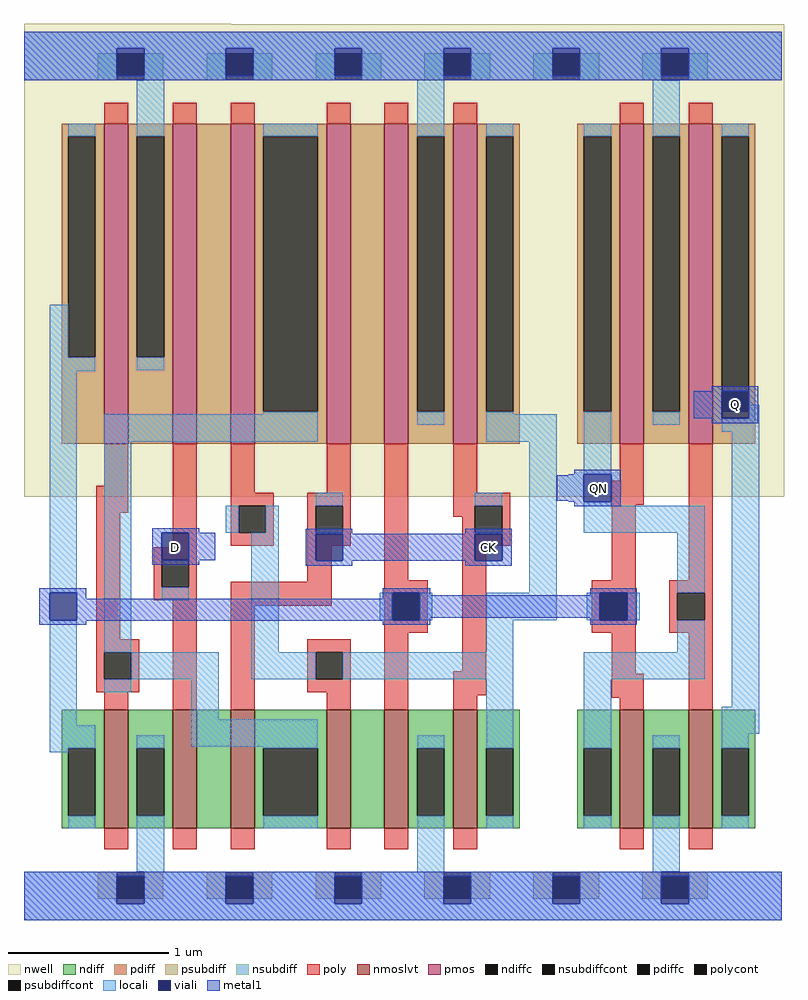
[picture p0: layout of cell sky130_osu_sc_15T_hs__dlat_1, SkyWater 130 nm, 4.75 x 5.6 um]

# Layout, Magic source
magic
tech sky130A
magscale 1 2
<< nwell >>
rect 71 1119 330 1120
rect 71 529 1020 1119
<< nmoslvt >>
rect 171 115 201 263
rect 257 115 287 263
rect 329 115 359 263
rect 449 115 479 263
rect 521 115 551 263
rect 607 115 637 263
rect 815 115 845 263
rect 901 115 931 263
<< pmos >>
rect 171 595 201 995
rect 257 595 287 995
rect 329 595 359 995
rect 449 595 479 995
rect 521 595 551 995
rect 607 595 637 995
rect 815 595 845 995
rect 901 595 931 995
<< ndiff >>
rect 118 215 171 263
rect 118 131 126 215
rect 160 131 171 215
rect 118 115 171 131
rect 201 215 257 263
rect 201 131 212 215
rect 246 131 257 215
rect 201 115 257 131
rect 287 115 329 263
rect 359 215 449 263
rect 359 131 370 215
rect 438 131 449 215
rect 359 115 449 131
rect 479 115 521 263
rect 551 215 607 263
rect 551 131 562 215
rect 596 131 607 215
rect 551 115 607 131
rect 637 215 690 263
rect 637 131 648 215
rect 682 131 690 215
rect 637 115 690 131
rect 762 215 815 263
rect 762 131 770 215
rect 804 131 815 215
rect 762 115 815 131
rect 845 215 901 263
rect 845 131 856 215
rect 890 131 901 215
rect 845 115 901 131
rect 931 215 984 263
rect 931 131 942 215
rect 976 131 984 215
rect 931 115 984 131
<< pdiff >>
rect 118 979 171 995
rect 118 703 126 979
rect 160 703 171 979
rect 118 595 171 703
rect 201 979 257 995
rect 201 703 212 979
rect 246 703 257 979
rect 201 595 257 703
rect 287 595 329 995
rect 359 979 449 995
rect 359 635 370 979
rect 438 635 449 979
rect 359 595 449 635
rect 479 595 521 995
rect 551 979 607 995
rect 551 635 562 979
rect 596 635 607 979
rect 551 595 607 635
rect 637 979 690 995
rect 637 635 648 979
rect 682 635 690 979
rect 637 595 690 635
rect 762 979 815 995
rect 762 635 770 979
rect 804 635 815 979
rect 762 595 815 635
rect 845 979 901 995
rect 845 635 856 979
rect 890 635 901 979
rect 845 595 901 635
rect 931 979 984 995
rect 931 635 942 979
rect 976 635 984 979
rect 931 595 984 635
<< ndiffc >>
rect 126 131 160 215
rect 212 131 246 215
rect 370 131 438 215
rect 562 131 596 215
rect 648 131 682 215
rect 770 131 804 215
rect 856 131 890 215
rect 942 131 976 215
<< pdiffc >>
rect 126 703 160 979
rect 212 703 246 979
rect 370 635 438 979
rect 562 635 596 979
rect 648 635 682 979
rect 770 635 804 979
rect 856 635 890 979
rect 942 635 976 979
<< psubdiff >>
rect 163 27 187 61
rect 221 27 245 61
rect 299 27 323 61
rect 357 27 381 61
rect 435 27 459 61
rect 493 27 517 61
rect 571 27 595 61
rect 629 27 653 61
rect 707 27 731 61
rect 765 27 789 61
rect 843 27 867 61
rect 901 27 925 61
<< nsubdiff >>
rect 163 1049 187 1083
rect 221 1049 245 1083
rect 299 1049 323 1083
rect 357 1049 381 1083
rect 435 1049 459 1083
rect 493 1049 517 1083
rect 571 1049 595 1083
rect 629 1049 653 1083
rect 707 1049 731 1083
rect 765 1049 789 1083
rect 843 1049 867 1083
rect 901 1049 925 1083
<< psubdiffcont >>
rect 187 27 221 61
rect 323 27 357 61
rect 459 27 493 61
rect 595 27 629 61
rect 731 27 765 61
rect 867 27 901 61
<< nsubdiffcont >>
rect 187 1049 221 1083
rect 323 1049 357 1083
rect 459 1049 493 1083
rect 595 1049 629 1083
rect 731 1049 765 1083
rect 867 1049 901 1083
<< poly >>
rect 171 995 201 1021
rect 257 995 287 1021
rect 329 995 359 1021
rect 449 995 479 1021
rect 521 995 551 1021
rect 607 995 637 1021
rect 815 995 845 1021
rect 901 995 931 1021
rect 171 543 201 595
rect 161 509 201 543
rect 161 351 191 509
rect 257 466 287 595
rect 329 534 359 595
rect 449 534 479 595
rect 329 518 383 534
rect 329 484 339 518
rect 373 484 383 518
rect 329 468 383 484
rect 425 518 479 534
rect 425 484 435 518
rect 469 484 479 518
rect 425 468 479 484
rect 233 450 287 466
rect 233 416 243 450
rect 277 416 287 450
rect 425 423 455 468
rect 233 400 287 416
rect 161 335 215 351
rect 161 301 171 335
rect 205 301 215 335
rect 161 285 215 301
rect 171 263 201 285
rect 257 263 287 400
rect 329 393 455 423
rect 521 425 551 595
rect 607 534 637 595
rect 815 549 845 595
rect 607 518 678 534
rect 607 504 634 518
rect 618 484 634 504
rect 668 484 678 518
rect 618 468 678 484
rect 805 519 845 549
rect 521 409 575 425
rect 329 263 359 393
rect 521 375 531 409
rect 565 375 575 409
rect 521 359 575 375
rect 425 335 479 351
rect 425 301 435 335
rect 469 301 479 335
rect 425 285 479 301
rect 449 263 479 285
rect 521 263 551 359
rect 618 311 648 468
rect 805 425 835 519
rect 901 425 931 595
rect 780 409 835 425
rect 780 375 790 409
rect 824 375 835 409
rect 780 359 835 375
rect 877 409 931 425
rect 877 375 887 409
rect 921 375 931 409
rect 877 359 931 375
rect 607 281 648 311
rect 805 308 835 359
rect 607 263 637 281
rect 805 278 845 308
rect 815 263 845 278
rect 901 263 931 359
rect 171 89 201 115
rect 257 89 287 115
rect 329 89 359 115
rect 449 89 479 115
rect 521 89 551 115
rect 607 89 637 115
rect 815 89 845 115
rect 901 89 931 115
<< polycont >>
rect 339 484 373 518
rect 435 484 469 518
rect 243 416 277 450
rect 171 301 205 335
rect 634 484 668 518
rect 531 375 565 409
rect 435 301 469 335
rect 790 375 824 409
rect 887 375 921 409
<< locali >>
rect 71 1089 1017 1110
rect 71 1049 187 1089
rect 221 1049 323 1089
rect 357 1049 459 1089
rect 493 1049 595 1089
rect 629 1049 731 1089
rect 765 1049 867 1089
rect 901 1049 1017 1089
rect 126 979 160 995
rect 103 703 126 769
rect 103 686 160 703
rect 212 979 246 1049
rect 212 687 246 703
rect 370 979 438 995
rect 103 409 137 686
rect 370 632 438 635
rect 103 244 137 375
rect 171 598 438 632
rect 562 979 596 1049
rect 562 619 596 635
rect 648 979 682 995
rect 648 632 682 635
rect 770 979 804 995
rect 648 598 736 632
rect 171 335 205 598
rect 435 518 469 534
rect 323 484 339 518
rect 373 484 389 518
rect 243 400 277 416
rect 355 335 389 484
rect 435 483 469 484
rect 634 518 668 534
rect 634 483 668 484
rect 702 409 736 598
rect 770 557 804 635
rect 856 979 890 1049
rect 856 619 890 635
rect 942 979 976 995
rect 976 627 989 644
rect 942 610 989 627
rect 770 518 804 523
rect 770 484 921 518
rect 887 409 921 484
rect 515 375 531 409
rect 565 375 581 409
rect 648 375 736 409
rect 774 375 790 409
rect 824 375 840 409
rect 648 335 682 375
rect 887 335 921 375
rect 205 301 314 335
rect 355 301 435 335
rect 469 301 682 335
rect 171 285 205 301
rect 280 251 314 301
rect 103 215 160 244
rect 103 210 126 215
rect 126 115 160 131
rect 212 215 246 231
rect 280 217 438 251
rect 212 61 246 131
rect 370 215 438 217
rect 370 115 438 131
rect 562 215 596 231
rect 562 61 596 131
rect 648 215 682 301
rect 648 115 682 131
rect 770 301 921 335
rect 770 215 804 301
rect 955 267 989 610
rect 942 233 989 267
rect 770 115 804 131
rect 856 215 890 231
rect 856 61 890 131
rect 942 215 976 233
rect 942 115 976 131
rect 71 21 187 61
rect 221 21 323 61
rect 357 21 459 61
rect 493 21 595 61
rect 629 21 731 61
rect 765 21 867 61
rect 901 21 1017 61
rect 71 0 1017 21
<< viali >>
rect 187 1083 221 1089
rect 187 1055 221 1083
rect 323 1083 357 1089
rect 323 1055 357 1083
rect 459 1083 493 1089
rect 459 1055 493 1083
rect 595 1083 629 1089
rect 595 1055 629 1083
rect 731 1083 765 1089
rect 731 1055 765 1083
rect 867 1083 901 1089
rect 867 1055 901 1083
rect 103 375 137 409
rect 243 450 277 484
rect 435 449 469 483
rect 634 449 668 483
rect 942 635 976 661
rect 942 627 976 635
rect 770 523 804 557
rect 531 375 565 409
rect 790 375 824 409
rect 187 27 221 55
rect 187 21 221 27
rect 323 27 357 55
rect 323 21 357 27
rect 459 27 493 55
rect 459 21 493 27
rect 595 27 629 55
rect 595 21 629 27
rect 731 27 765 55
rect 731 21 765 27
rect 867 27 901 55
rect 867 21 901 27
<< metal1 >>
rect 71 1089 1017 1110
rect 71 1055 187 1089
rect 221 1055 323 1089
rect 357 1055 459 1089
rect 493 1055 595 1089
rect 629 1055 731 1089
rect 765 1055 867 1089
rect 901 1055 1017 1089
rect 71 1049 1017 1055
rect 930 661 988 667
rect 907 627 942 661
rect 976 627 988 661
rect 930 621 988 627
rect 758 557 816 563
rect 751 556 770 557
rect 736 524 770 556
rect 751 523 770 524
rect 804 523 816 557
rect 758 517 816 523
rect 231 484 290 490
rect 231 450 243 484
rect 277 450 310 484
rect 423 483 481 489
rect 622 483 680 489
rect 231 444 290 450
rect 423 449 435 483
rect 469 449 634 483
rect 668 449 680 483
rect 423 443 481 449
rect 622 443 680 449
rect 90 409 149 415
rect 90 375 103 409
rect 137 402 149 409
rect 519 409 578 415
rect 519 402 531 409
rect 137 375 531 402
rect 565 406 578 409
rect 778 409 836 415
rect 778 406 790 409
rect 565 378 790 406
rect 565 375 578 378
rect 90 374 578 375
rect 90 369 149 374
rect 519 369 578 374
rect 778 375 790 378
rect 824 375 836 409
rect 778 369 836 375
rect 71 55 1017 61
rect 71 21 187 55
rect 221 21 323 55
rect 357 21 459 55
rect 493 21 595 55
rect 629 21 731 55
rect 765 21 867 55
rect 901 21 1017 55
rect 71 0 1017 21
<< labels >>
rlabel metal1 651 466 651 466 1 CK
port 1 n
rlabel metal1 260 466 260 466 1 D
port 2 n
rlabel metal1 788 540 788 540 1 QN
port 4 n
rlabel viali 959 644 959 644 1 Q
port 3 n
<< end >>
